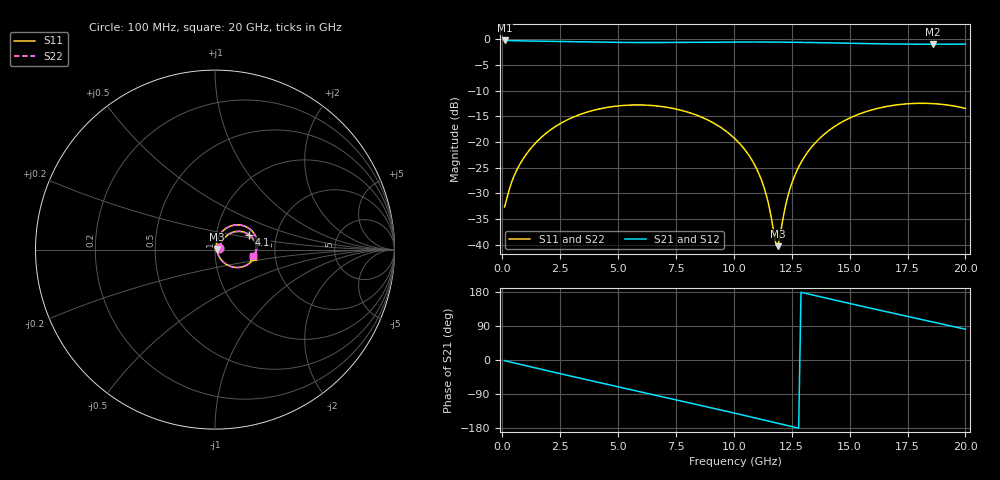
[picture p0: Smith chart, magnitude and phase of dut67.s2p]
! Touchstone file exported from HFSS 2026.1.0
!  File:  C:/ffzhzh/LocalFiles/Ansys_Project_Files/temp_train_TSV_RDL_67_1782969313_6388.aedt
!  Generated:  01:23:22 PM Jul  2, 2026
!  Design:  TSV_RDL
!  Project:  temp_train_TSV_RDL_67_1782969313_6388
! Variables:
!  h_bsmrdl = 2.34um
!  h_ox = 20um
!  h_rdl = 5um
!  h_sub = 52.91um
!  h_tmrdl = 4.89um
!  h_tsv = 52.91um
!  h_via = 3um
!  l_bsmrdl = 860.86um
!  l_sub = 4711.21um
!  l_tmrdl = 397.8um
!  m_sub = 200um
!  pitch = 35.56um
!  r_tsv = 14.97um
!  s_tmrdl = 10um
!  w_bsmrdl = 25.78um
!  w_sub = 500um
!  w_tmrdl = 20.03um
!  x_tsv_center1 = 407.815um
!  x_tsv_center2 = 1294.455um
!  x_tsv_center3 = 1712.285um
!  x_tsv_center4 = 2598.925um
!  x_tsv_center5 = 3016.755um
!  x_tsv_center6 = 3903.395um
# GHz S MA R 50.000000
! Terminal data exported
! Port[1] = TM_RDL1_1_T1
! Port[2] = TM_RDL5_1_T1
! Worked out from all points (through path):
!   200 points, 100 MHz to 20 GHz, reference 50 ohm
!   highest |S21| = -0.19 dB at 100 MHz (marker M1); lowest = -0.9 dB at 18.6 GHz (marker M2)
!   group delay of S21, straight-line fit = 38.7 ps
!   lowest |S11| = -40.3 dB at 11.9 GHz (marker M3), VSWR 1.02, Z = 50.9 + j0.295 ohm
!   |S11| at or under -10 dB: start of sweep to end of sweep
!   |S22| runs from -40.3 to -12.4 dB; largest |S21 - S12| = 1.7e-14
!   S11 on the Smith chart (normalised r, x): 100 MHz: 1.04, +0.02; 4.1 GHz: 1.45, +0.25; 20 GHz: 1.52, -0.12
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0.1  0.02337 20.6  0.9783 -1.6  0.9783 -1.6  0.02337 20.6
! Gamma 0 0 0 0
! Port Impedance 50 0 50 0
0.6  0.05205 48.4  0.971 -9.0  0.971 -9.0  0.05205 48.4
1.3  0.09069 50.8  0.9649 -19.1  0.9649 -19.1  0.09069 50.8
2.3  0.1422 43.4  0.9564 -33.3  0.9564 -33.3  0.1422 43.4
3.5  0.1909 30.1  0.9462 -50.1  0.9462 -50.1  0.1909 30.1
4.1  0.2084 22.9  0.9419 -58.3  0.9419 -58.3  0.2084 22.9
5.5  0.2295 5.5  0.9353 -77.5  0.9353 -77.5  0.2295 5.6
6.8  0.2235 -10.9  0.9346 -95.2  0.9346 -95.2  0.2235 -10.9
8.7  0.1715 -35.1  0.9402 -121.5  0.9402 -121.5  0.1715 -35.1
10.1  0.1051 -52.1  0.9445 -141.2  0.9445 -141.2  0.1052 -52.0
10.7  0.07156 -57.9  0.9452 -149.8  0.9452 -149.8  0.07161 -57.8
11.2  0.04231 -59.4  0.9449 -157.0  0.9449 -157.0  0.04237 -59.4
11.5  0.02488 -54.0  0.9442 -161.3  0.9442 -161.3  0.02494 -54.0
11.8  0.01059 -16.2  0.9433 -165.6  0.9433 -165.6  0.01061 -16.5
11.9  0.009693 17.4  0.9429 -167.0  0.9429 -167.0  0.009674 17.0
12.2  0.02222 68.2  0.9416 -171.3  0.9416 -171.3  0.02215 68.2
12.5  0.03957 75.6  0.94 -175.6  0.94 -175.6  0.03948 75.6
13.4  0.09194 71.2  0.9334 171.6  0.9334 171.6  0.09183 71.3
14.8  0.1629 54.9  0.9205 151.9  0.9205 151.9  0.1627 55.0
16.7  0.2247 31.0  0.9047 125.9  0.9047 125.9  0.2245 31.1
18.6  0.2373 7.0  0.8989 100.3  0.8989 100.3  0.2371 7.2
20  0.2133 -10.5  0.9019 81.3  0.9019 81.3  0.2131 -10.3
